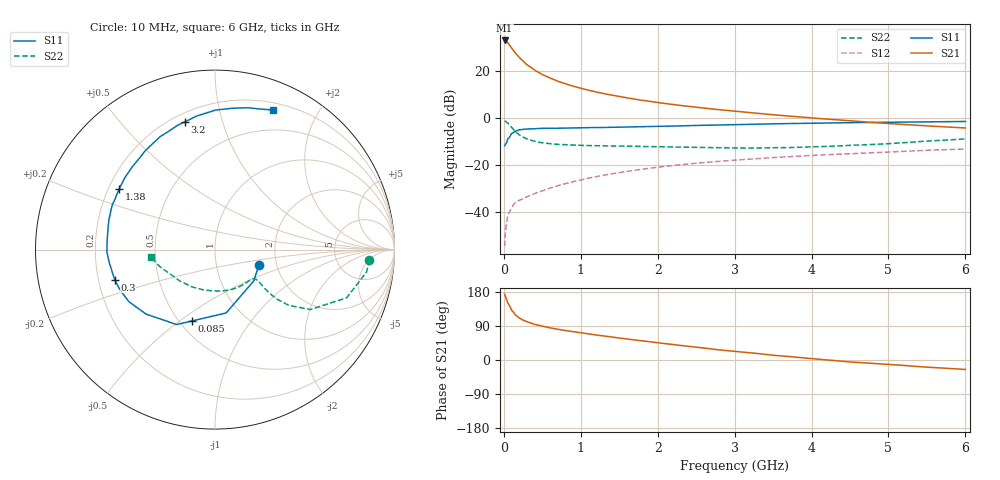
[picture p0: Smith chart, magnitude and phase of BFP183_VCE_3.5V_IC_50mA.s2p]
! Infineon Technologies  Discrete & RF Semiconductors
! BFP183
! VCE = 3.5 V,  IC =  50 mA
! Common Emitter S-Parameters:  Jan 2016
# GHz  S  MA  R  50
!  f  S11  S21  S12  S22
! GHz  MAG  ANG  MAG  ANG  MAG  ANG  MAG  ANG
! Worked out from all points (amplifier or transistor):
!   210 points, 10 MHz to 6 GHz, reference 50 ohm
!   highest |S21| = 32.9 dB at 10 MHz (marker M1)
!   |S21| within 3 dB of that: start of sweep to 96.03 MHz
!   unconditionally stable (mu >= 1): start of sweep to 15.8 MHz; 352 MHz to end of sweep
!   at 185 MHz: K = 0.70, MSG = 30.8 dB, |S12| = -35.2 dB
!   at 1.52 GHz: K = 1.36, MAG = 12.5 dB, |S12| = -23.1 dB
!   at 6 GHz: K = 1.05, MAG = 3.1 dB, |S12| = -13.2 dB
!   S11 on the Smith chart (normalised r, x): 10 MHz: 1.61, -0.30; 85 MHz: 0.57, -0.55; 300 MHz: 0.27, -0.14; 1.38 GHz: 0.24, +0.27; 3.2 GHz: 0.25, +0.76; 6 GHz: 0.27, +1.47
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0.01  0.2591 -19.9  44.15 173.8  0.0019 72.1  0.8623 -3.8
0.02  0.2776 -38.8  43.66 168.1  0.0036 77.1  0.8535 -8.4
0.05  0.3584 -80.0  39.71 151.4  0.0081 69.8  0.7811 -20.1
0.085  0.4191 -108.2  32.95 138.7  0.0111 59.2  0.6706 -27.9
0.1  0.469 -117.1  30.7 131.7  0.0125 56.3  0.628 -32.1
0.15  0.5256 -136.8  23.93 119.1  0.016 50.7  0.5142 -37.1
0.2  0.5604 -148.7  19.24 110.9  0.0179 49.9  0.4388 -38.7
0.26  0.5761 -158.2  15.43 104.2  0.0196 50.9  0.3852 -38.6
0.3  0.5833 -163.4  13.53 100.7  0.0213 52.4  0.3576 -38.1
0.4  0.5927 -172.4  10.37 94.0  0.0248 55.0  0.3185 -36.8
0.5  0.6026 -178.7  8.34 89.0  0.0284 56.4  0.2964 -36.1
0.6  0.6029 175.9  7.046 84.8  0.0324 58.6  0.2834 -35.9
0.7  0.6053 171.2  6.009 81.1  0.0364 60.2  0.2749 -36.1
0.8  0.6095 167.3  5.301 77.7  0.0401 60.4  0.27 -36.8
1.02  0.62 159.3  4.181 71.1  0.0491 60.9  0.2612 -39.5
1.38  0.6317 147.7  3.1 61.3  0.0644 60.1  0.2546 -45.5
2.02  0.66 129.8  2.1 45.1  0.0908 55.1  0.2453 -59.7
3.1  0.7267 105.1  1.34 20.9  0.1305 44.9  0.2299 -91.3
3.2  0.7317 103.2  1.295 19.1  0.1339 43.9  0.2296 -94.6
4.1  0.7796 88.4  0.973 1.9  0.163 35.1  0.246 -125.0
5.1  0.8133 75.9  0.744 -13.1  0.192 26.7  0.2912 -154.1
6  0.843 67.3  0.613 -25.0  0.2194 17.6  0.3597 -173.6
